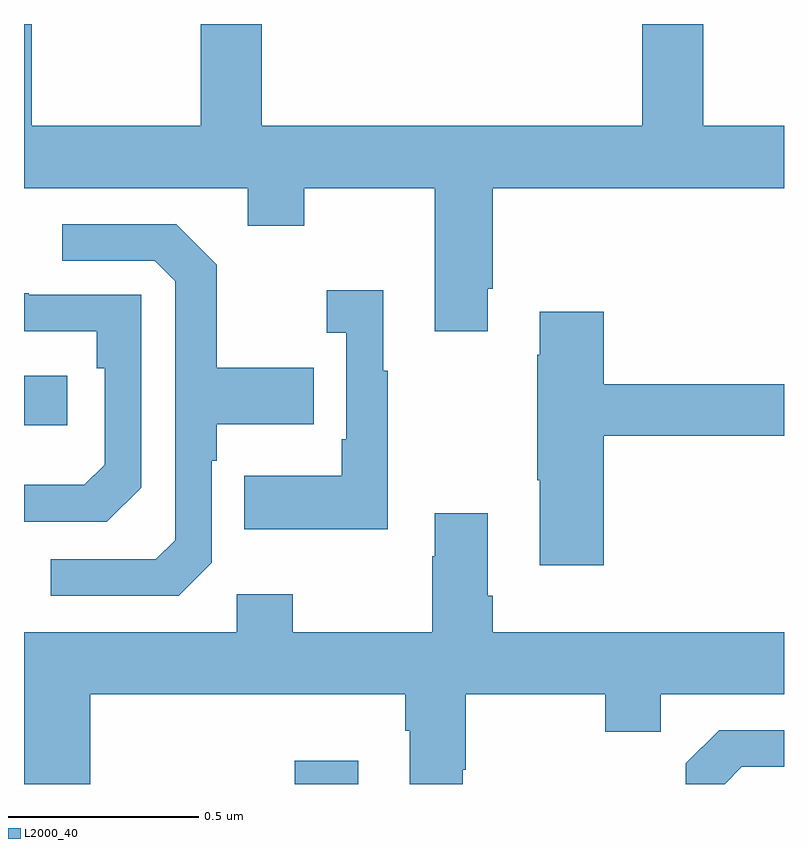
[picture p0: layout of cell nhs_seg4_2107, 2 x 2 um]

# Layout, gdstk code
import gdstk
lib = gdstk.Library(unit=1e-6, precision=1e-09)
def R(c, l, rs):  # rectangles x0, y0, x1, y1
    for r in rs: c.add(gdstk.rectangle(r[:2], r[2:], *l))
def P(c, l, *ps):  # polygons
    for p in ps: c.add(gdstk.Polygon(p, *l))
L2000_40 = (2000, 40)

nhs_seg4_2107 = lib.new_cell('nhs_seg4_2107')
R(nhs_seg4_2107, L2000_40, [(136.712,813.9,136.879,813.961), (136,814.844,136.114,814.974)])
P(nhs_seg4_2107, L2000_40, [(137.221,815.203),(137.234,815.203),(137.234,815.468),(138,815.468),(138,815.632),(137.787,815.632),(137.787,815.9),(137.627,815.9),(137.627,815.632),(136.625,815.632),(136.625,815.9),(136.465,815.9),(136.465,815.632),(136.02,815.632),(136.02,815.9),(136,815.9),(136,815.468),(136.589,815.468),(136.589,815.369),(136.737,815.369),(136.737,815.468),(137.081,815.468),(137.081,815.091),(137.221,815.091)],
  [(136.494,814.482),(136.494,814.751),(136.507,814.751),(136.507,814.847),(136.763,814.847),(136.763,814.995),(136.507,814.995),(136.507,815.267),(136.401,815.373),(136.101,815.373),(136.101,815.277),(136.344,815.277),(136.398,815.223),(136.398,814.542),(136.347,814.491),(136.071,814.491),(136.071,814.395),(136.407,814.395)],
  [(136.957,814.987),(136.945,814.987),(136.945,815.2),(136.797,815.2),(136.797,815.087),(136.848,815.087),(136.848,814.807),(136.836,814.807),(136.836,814.711),(136.579,814.711),(136.579,814.571),(136.957,814.571)],
  [(136.308,814.68),(136.308,815.187),(136.013,815.187),(136.013,815.192),(136,815.192),(136,815.091),(136.192,815.091),(136.192,814.994),(136.212,814.994),(136.212,814.74),(136.159,814.687),(136,814.687),(136,814.59),(136.218,814.59)],
  [(137.525,814.816),(138,814.816),(138,814.952),(137.525,814.952),(137.525,815.143),(137.357,815.143),(137.357,815.03),(137.35,815.03),(137.35,814.699),(137.357,814.699),(137.357,814.476),(137.525,814.476)],
  [(136.174,814.136),(137.003,814.136),(137.003,814.04),(137.015,814.04),(137.015,813.9),(137.155,813.9),(137.155,813.937),(137.163,813.937),(137.163,814.136),(137.53,814.136),(137.53,814.037),(137.676,814.037),(137.676,814.136),(138,814.136),(138,814.3),(137.234,814.3),(137.234,814.396),(137.221,814.396),(137.221,814.612),(137.081,814.612),(137.081,814.499),(137.074,814.499),(137.074,814.3),(136.707,814.3),(136.707,814.399),(136.56,814.399),(136.56,814.3),(136,814.3),(136,813.9),(136.174,813.9)],
  [(137.889,813.945),(138,813.945),(138,814.041),(137.829,814.041),(137.742,813.954),(137.742,813.9),(137.844,813.9)])

lib.write_gds('nhs_seg4_2107.gds')
